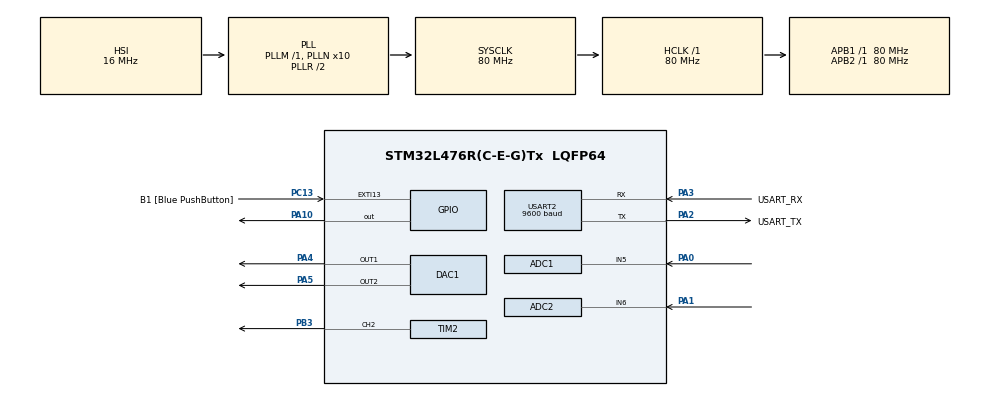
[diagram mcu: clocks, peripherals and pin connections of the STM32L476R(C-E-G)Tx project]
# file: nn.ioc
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ADC1.Channel-0\#ChannelRegularConversion=ADC_CHANNEL_5
ADC1.ContinuousConvMode=ENABLE
ADC1.DMAContinuousRequests=ENABLE
ADC1.NbrOfConversionFlag=1
ADC1.OffsetNumber-0\#ChannelRegularConversion=ADC_OFFSET_NONE
ADC1.Rank-0\#ChannelRegularConversion=1
ADC1.SamplingTime-0\#ChannelRegularConversion=ADC_SAMPLETIME_92CYCLES_5
ADC1.master=1
ADC2.Channel-0\#ChannelRegularConversion=ADC_CHANNEL_6
ADC2.ContinuousConvMode=ENABLE
ADC2.DMAContinuousRequests=ENABLE
ADC2.NbrOfConversionFlag=1
ADC2.OffsetNumber-0\#ChannelRegularConversion=ADC_OFFSET_NONE
ADC2.Rank-0\#ChannelRegularConversion=1
ADC2.SamplingTime-0\#ChannelRegularConversion=ADC_SAMPLETIME_92CYCLES_5
DAC1.DAC_Channel-DAC_OUT2=DAC_CHANNEL_2
Dma.ADC1.0.Direction=DMA_PERIPH_TO_MEMORY
Dma.ADC1.0.Instance=DMA1_Channel1
Dma.ADC1.0.MemDataAlignment=DMA_MDATAALIGN_HALFWORD
Dma.ADC1.0.MemInc=DMA_MINC_ENABLE
Dma.ADC1.0.Mode=DMA_CIRCULAR
Dma.ADC1.0.PeriphDataAlignment=DMA_PDATAALIGN_HALFWORD
Dma.ADC1.0.PeriphInc=DMA_PINC_DISABLE
Dma.ADC1.0.Priority=DMA_PRIORITY_LOW
Dma.ADC2.1.Direction=DMA_PERIPH_TO_MEMORY
Dma.ADC2.1.Instance=DMA1_Channel2
Dma.ADC2.1.MemDataAlignment=DMA_MDATAALIGN_HALFWORD
Dma.ADC2.1.MemInc=DMA_MINC_ENABLE
Dma.ADC2.1.Mode=DMA_CIRCULAR
Dma.ADC2.1.PeriphDataAlignment=DMA_PDATAALIGN_HALFWORD
Dma.ADC2.1.PeriphInc=DMA_PINC_DISABLE
Dma.ADC2.1.Priority=DMA_PRIORITY_LOW
Dma.Request0=ADC1
Dma.Request1=ADC2
Mcu.Family=STM32L4
Mcu.Name=STM32L476R(C-E-G)Tx
Mcu.Package=LQFP64
NVIC.DMA1_Channel1_IRQn=true\:0\:0\:false\:false\:true\:false\:true
NVIC.DMA1_Channel2_IRQn=true\:0\:0\:false\:false\:true\:false\:true
NVIC.PriorityGroup=NVIC_PRIORITYGROUP_4
NVIC.TIM3_IRQn=true\:0\:0\:false\:false\:true\:true\:true
PA0.Signal=ADCx_IN5
PA1.Signal=ADCx_IN6
PA10.Signal=GPIO_Output
PA13\ (JTMS-SWDIO).GPIO_Label=TMS
PA13\ (JTMS-SWDIO).Mode=Serial_Wire
PA13\ (JTMS-SWDIO).Signal=SYS_JTMS-SWDIO
PA14\ (JTCK-SWCLK).GPIO_Label=TCK
PA14\ (JTCK-SWCLK).Mode=Serial_Wire
PA14\ (JTCK-SWCLK).Signal=SYS_JTCK-SWCLK
PA2.GPIO_Label=USART_TX
PA2.GPIO_Mode=GPIO_MODE_AF_PP
PA2.GPIO_PuPd=GPIO_NOPULL
PA2.GPIO_Speed=GPIO_SPEED_FREQ_VERY_HIGH
PA2.Mode=Asynchronous
PA2.Signal=USART2_TX
PA3.GPIO_Label=USART_RX
PA3.GPIO_Mode=GPIO_MODE_AF_PP
PA3.GPIO_PuPd=GPIO_NOPULL
PA3.GPIO_Speed=GPIO_SPEED_FREQ_VERY_HIGH
PA3.Mode=Asynchronous
PA3.Signal=USART2_RX
PA4.Signal=COMP_DAC11_group
PA5.Signal=COMP_DAC12_group
PB3\ (JTDO-TRACESWO).Signal=S_TIM2_CH2
PC13.GPIO_Label=B1 [Blue PushButton]
PC13.GPIO_ModeDefaultEXTI=GPIO_MODE_IT_FALLING
PC13.GPIO_PuPd=GPIO_NOPULL
PC13.Signal=GPXTI13
PC14-OSC32_IN\ (PC14).Mode=LSE-External-Oscillator
PC14-OSC32_IN\ (PC14).Signal=RCC_OSC32_IN
PC15-OSC32_OUT\ (PC15).Mode=LSE-External-Oscillator
PC15-OSC32_OUT\ (PC15).Signal=RCC_OSC32_OUT
PH0-OSC_IN\ (PH0).Signal=RCC_OSC_IN
PH1-OSC_OUT\ (PH1).Signal=RCC_OSC_OUT
ProjectManager.HeapSize=0x200
ProjectManager.StackSize=0x400
ProjectManager.TargetToolchain=STM32CubeIDE
RCC.ADCFreq_Value=64000000
RCC.AHBFreq_Value=80000000
RCC.APB1Freq_Value=80000000
RCC.APB1TimFreq_Value=80000000
RCC.APB2Freq_Value=80000000
RCC.APB2TimFreq_Value=80000000
RCC.CortexFreq_Value=80000000
RCC.HCLKFreq_Value=80000000
RCC.HSE_VALUE=8000000
RCC.HSI_VALUE=16000000
RCC.MSI_VALUE=4000000
RCC.PLLN=10
RCC.PLLSourceVirtual=RCC_PLLSOURCE_HSI
RCC.PREFETCH_ENABLE=1
RCC.SYSCLKFreq_VALUE=80000000
RCC.SYSCLKSource=RCC_SYSCLKSOURCE_PLLCLK
RCC.USBFreq_Value=64000000
RCC.VCOOutputFreq_Value=160000000
SH.ADCx_IN5.0=ADC1_IN5,IN5-Single-Ended
SH.ADCx_IN6.0=ADC2_IN6,IN6-Single-Ended
SH.COMP_DAC11_group.0=DAC1_OUT1,DAC_OUT1
SH.COMP_DAC12_group.0=DAC1_OUT2,DAC_OUT2
SH.S_TIM2_CH2.0=TIM2_CH2,PWM Generation2 CH2
TIM2.Channel-PWM\ Generation2\ CH2=TIM_CHANNEL_2
TIM2.Period=4000-1
TIM3.Period=100-1
TIM3.Prescaler=80-1
USART2.BaudRate=9600
USART2.VirtualMode-Asynchronous=VM_ASYNC
VP_TIM3_VS_ClockSourceINT.Mode=Internal
board=NUCLEO-L476RG

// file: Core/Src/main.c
/* USER CODE BEGIN Header */
/**
  ******************************************************************************
  * @file           : main.c
  * @brief          : Main program body
  ******************************************************************************
  * @attention
  *
  * <h2><center>&copy; Copyright (c) 2020 STMicroelectronics.
  * All rights reserved.</center></h2>
  *
  * This software component is licensed by ST under BSD 3-Clause license,
  * the "License"; You may not use this file except in compliance with the
  * License. You may obtain a copy of the License at:
  *                        opensource.org/licenses/BSD-3-Clause
  *
  ******************************************************************************
  */
/* USER CODE END Header */

#include "main.h"

/* USER CODE BEGIN Includes */
#include <string.h>
#include <stdio.h>
#include <stdbool.h>
/* USER CODE END Includes */

/* USER CODE BEGIN PD */
#define SIZE         7        // ADC buffer size
#define DELTA_X0     200      // Current range * 1000
#define DELTA_X1     7000     // Voltage range * 1000
#define X0_MIN       -50      // Minimum current * 1000
#define X1_MIN       -5000    // Minimum voltage * 1000
#define U_MIN        -337900  // Minimum duty cycle * 1000000
#define COUNTER_PERIOD 3999   // PWM signal counter period
/* USER CODE END PD */

ADC_HandleTypeDef hadc1;
ADC_HandleTypeDef hadc2;
DMA_HandleTypeDef hdma_adc1;
DMA_HandleTypeDef hdma_adc2;

DAC_HandleTypeDef hdac1;

TIM_HandleTypeDef htim2;
TIM_HandleTypeDef htim3;

UART_HandleTypeDef huart2;

/* USER CODE BEGIN PV */
int u = 0;              // Input*1000
const int xs0 = 50;     // Steady state current * 1000
const int xs1 = 5000;   // Steady state voltage * 1000
const int us = 337900;  // Steady state input * 1000000
uint16_t iter = 0;  // Sampling step counter for an intial startup delay of 1ms
int x[2] = {0,0};   // State vector
int y[2] = {0,0};   // Sensor measurements vector
int x_est[2] = {0,0};   // State estimate using the model
int64_t integral = 0;   // Integral buffer
bool settled = false;   // Indicates whether the system is settled
uint8_t settling_iter = 0;  //  Number of iterations in a row where |x[k+1]-x[k]|<epsilon

uint16_t adc_buf0[SIZE];   // ADC buffer for the current
uint16_t adc_buf1[SIZE];   // ADC buffer for the voltage
/* USER CODE END PV */

void SystemClock_Config(void);
static void MX_GPIO_Init(void);
static void MX_DMA_Init(void);
static void MX_USART2_UART_Init(void);
static void MX_ADC1_Init(void);
static void MX_ADC2_Init(void);
static void MX_DAC1_Init(void);
static void MX_TIM2_Init(void);
static void MX_TIM3_Init(void);

/* USER CODE BEGIN 0 */

//  Begin code from https://www.geeksforgeeks.org/quick-sort/
/* Functions of the quick sort algorithm.
 * Once the values have been sorted the median value is returned */
void swap(int* a, int* b)
{
	int t = *a;
    *a = *b;
    *b = t;
}

int partition (int arr[], int low, int high)
{
	int pivot = arr[high];    // pivot
	int i = (low - 1);  // Index of smaller element

    for (int j = low; j <= high- 1; j++)
    {
        // If current element is smaller than the pivot
        if (arr[j] < pivot)
        {
            i++;    // increment index of smaller element
            swap(&arr[i], &arr[j]);
        }
    }
    swap(&arr[i + 1], &arr[high]);
    return (i + 1);
}

void quickSort(int arr[], int low, int high)
{
    if (low < high)
    {
        /* pi is partitioning index, arr[p] is now
           at right place */
    	int pi = partition(arr, low, high);

        // Separately sort elements before
        // partition and after partition
        quickSort(arr, low, pi - 1);
        quickSort(arr, pi + 1, high);
    }
}

int get_median(int *values){
	int n = sizeof(values)/sizeof(values[0]);
    quickSort(values, 0, n-1);
    return values[SIZE/2];
}
// End code from https://www.geeksforgeeks.org/quick-sort/

// Inetrruption routine 10kHz
void HAL_TIM_PeriodElapsedCallback(TIM_HandleTypeDef *htim)
{
	// Delay before the controller starts operating
	if (htim->Instance == htim3.Instance)
    {
		if(iter < 10000){
			iter++;
		}
		else{
			// Timing
			//HAL_GPIO_WritePin(GPIOA,GPIO_PIN_10,GPIO_PIN_SET);

			// Copy the values of the ADC buffers in arrays
			int value0[SIZE];
			int value1[SIZE];
			for(uint8_t i = 0; i<SIZE; i++){
				value0[i] = (int)adc_buf0[i];
				value1[i] = (int)adc_buf1[i];
			}

			// Inductor current sampling
			y[0] = get_median(value0); y[0] *= 1075; y[0] /= 10000;

			// Output voltage sampling
			y[1] = get_median(value1);   y[1] *= 28900; y[1] /= 10000;

			// State estimate using the model
			int x0_prev = x[0];
			int x1_prev = x[1];
			x_est[0] = 97136*x0_prev - 978*x1_prev + 14878*u;    x_est[0] /= 100000;
			x_est[1] = 173187*x0_prev + 97046*x1_prev + 18083*u; x_est[1] /= 100000;

			// Combination measurement+model
			int alpha = 250;              // Measurement contibution = 25 %, Model contribution = 75 %
			int alpha_bar = 1000-alpha;
			x[0] = alpha*y[0] + alpha_bar*x_est[0]; x[0] /= 1000;
			x[1] = alpha*y[1] + alpha_bar*x_est[1]; x[1] /= 1000;

			//  Shift the state to the new origin (steady state values)
			int dx0 = x[0] - xs0;
			int dx1 = x[1] - xs1;

			// Scale the input so that 0 <= x <= 1
			dx0 -= X0_MIN;  dx0 *= 1000; dx0 /= DELTA_X0;
			dx1 -= X1_MIN;  dx1 *= 1000; dx1 /= DELTA_X1;

			// Third layer input of the NN
			int n1,n2,n3;

			// Test Region 1
			int H11 = -84*dx0+996*dx1-357663;       H11 = H11<=0;
			int H12 = 1000*dx0-1000000;             H12 = H12<=0;
			int H13 = -1000*dx1;                    H13 = H13<=0;
			int H14 = -1000*dx0;                    H14 = H14<=0;
			int H15 = 948*dx0-317*dx1-939649;       H15 = H15<=0;

			if(H11 && H12 && H13 && H14 && H15){
				// Layer 2 pQP explicit soltion
				n1 = -1*dx0-276*dx1+1048587;
				n2 = -1238*dx0+414*dx1+1226741;

				// Layer 3 mapping
				int u_temp = -0.0959*n1+1.0614*n2+141619;

				// Rescale the input
				u = u_temp+U_MIN;

				// Region ID DAC output 0.5V
				//HAL_DAC_SetValue(&hdac1, DAC_CHANNEL_1, DAC_ALIGN_12B_R, 0.5/3.3*4095);
			}
			else{
				// Test Region 2 : TERMINAL SET
				int H21 = 1000*dx0-1000000;          H21 = H21<=0;
				int H22 = -1000*dx0;                 H22 = H22<=0;
				int H23 = -73*dx0+997*dx1-784222;    H23 = H23<=0;
				int H24 = 674*dx0+738*dx1-1106412;   H24 = H24<=0;
				int H25 = 84*dx0-996*dx1+357663;     H25 = H25<=0;

				if(H21 && H22 && H23 && H24 && H25){
					n1 = 163*dx0-2222*dx1+1747205;
					n2 = -1102*dx0-1207*dx1+1808427;
					n3 = -220*dx0+2620*dx1-940435;
					int u_temp = -0.0959*n1+1.0614*n2-0.5676*n3+141619;
					u = u_temp+U_MIN;

					// If not settled : Integrator disabled
					if(!settled){
						int diff = x[1]-x1_prev;        // difference between 2 consecutive samples
						if(diff > -100 && diff < 100){  // If |diff| < 100 mV increment counter
							settling_iter++;
							if(settling_iter == 100){   // If counter = 100 system settled
								settled = true;
							}
						}
						else{
							settling_iter = 0;          // If |diff| > 100 mV reset counter
						}
				    }
					else{                           // Increment the integral and modify the input
						int error = 5000-y[1];
						integral += error;
						u += 40*integral;
					}
					//HAL_DAC_SetValue(&hdac1, DAC_CHANNEL_1, DAC_ALIGN_12B_R, 1/3.3*4095);
				}
				else{
					// Test Region 3
					int H31 = -948*dx0+317*dx1+939649;    H31 = H31<=0;
					int H32 = 1000*dx0-1000000;           H32 = H32<=0;
					int H33 = -1000*dx1;                  H33 = H33<=0;

					if(H31 && H32 && H33){
						n1 = 614*dx0-481*dx1+439588;
						int u_temp = -0.0959*n1+141619;
						u = u_temp+U_MIN;
						//HAL_DAC_SetValue(&hdac1, DAC_CHANNEL_1, DAC_ALIGN_12B_R, 1.5/3.3*4095);
					}
					else{
						// Test Region 4
						int H41 = 73*dx0-997*dx1+784222;       H41 = H41<=0;
						int H42 = 1000*dx1-1000000;            H42 = H42<=0;
						int H43 = -1000*dx0;                   H43 = H43<=0;
						int H44 = 907*dx0-422*dx1-300125;      H44 = H44<=0;

						if(H41 && H42 && H43 && H44){
							n2 = -1233*dx0+574*dx1+408098;
							n3 = -124*dx0+1305*dx1+93435;
							int u_temp = 1.0614*n2-0.5676*n3+141619;
							u = u_temp+U_MIN;
							//HAL_DAC_SetValue(&hdac1, DAC_CHANNEL_1, DAC_ALIGN_12B_R, 2/3.3*4095);
						}
						else{
							// Test Region 5
							int H51 = -674*dx0-738*dx1+1106412;     H51 = H51<=0;
							int H52 = 1000*dx0-1000000;             H52 = H52<=0;
							int H53 = 1000*dx1-1000000;             H53 = H53<=0;
							int H54 = -544*dx0+839*dx1-311384;      H54 = H54<=0;

							if(H51 && H52 && H53 && H54){
								n1 = 910*dx0-1404*dx1+520906;
								n3 = -679*dx0+2117*dx1-186592;
								int u_temp = -0.0959*n1-0.5676*n3+141619;
								u = u_temp+U_MIN;
								//HAL_DAC_SetValue(&hdac1, DAC_CHANNEL_1, DAC_ALIGN_12B_R, 2.5/3.3*4095);
							}
							else{
								// Test Region 6
								int H61 = 544*dx0-839*dx1+311384;     H61 = H61<=0;
								int H62 = -907*dx0+422*dx1+300125;    H62 = H62<=0;
								int H63 = 1000*dx1-1000000;           H63 = H63<=0;

								if(H61 && H62 && H63){
									n3 = -166*dx0+1325*dx1+107379;
									int u_temp = -0.5676*n3+141619;
									u = u_temp+U_MIN;
									//HAL_DAC_SetValue(&hdac1, DAC_CHANNEL_1, DAC_ALIGN_12B_R, 3/3.3*4095);
								}
								else{
									// No region found => slow LQR
									dx0 = x[0] - xs0;
									dx1 = x[1] - xs1;
									u = -4854*dx0; u += 53*dx1;
									//HAL_DAC_SetValue(&hdac1, DAC_CHANNEL_1, DAC_ALIGN_12B_R, 0);
								}
							}
						}
					}
				}
			}

			// Add the steady state input
			u += us;  u /= 1000;

			// Update PWM timer counter
			int input = u*COUNTER_PERIOD/1000;

			// Saturation
			if(input < 0) input = 0;
			if(input > COUNTER_PERIOD) input = COUNTER_PERIOD;

			// Duty cycle command
			htim2.Instance->CCR2 = input;

			// Duty cycle DAC output
			//HAL_DAC_SetValue(&hdac1, DAC_CHANNEL_1, DAC_ALIGN_12B_R, input*4095/13197);
		}
	}
	// End Timing
	//HAL_GPIO_WritePin(GPIOA,GPIO_PIN_10,GPIO_PIN_RESET);
}
/* USER CODE END 0 */

int main(void)
{

  /* MCU Configuration--------------------------------------------------------*/

  /* Reset of all peripherals, Initializes the Flash interface and the Systick. */
  HAL_Init();

  /* Configure the system clock */
  SystemClock_Config();

  /* Initialize all configured peripherals */
  MX_GPIO_Init();
  MX_DMA_Init();
  MX_USART2_UART_Init();
  MX_ADC1_Init();
  MX_ADC2_Init();
  MX_DAC1_Init();
  MX_TIM2_Init();
  MX_TIM3_Init();
  /* USER CODE BEGIN 2 */
  // Peripherals initialization
  HAL_DAC_Start(&hdac1, DAC_CHANNEL_1);
  HAL_DAC_Start(&hdac1, DAC_CHANNEL_2);
  HAL_ADC_Start_DMA(&hadc2, (uint32_t*)adc_buf0, SIZE);
  HAL_ADC_Start_DMA(&hadc1, (uint32_t*)adc_buf1, SIZE);
  HAL_TIM_Base_Start_IT(&htim3);
  HAL_TIM_PWM_Start(&htim2, TIM_CHANNEL_2);
  htim2.Instance->CCR2 = 0;  // Intial input = 0
  /* USER CODE END 2 */

  /* Infinite loop */
  while (1)
  {

  }
}

void SystemClock_Config(void)
{
  RCC_OscInitTypeDef RCC_OscInitStruct = {0};
  RCC_ClkInitTypeDef RCC_ClkInitStruct = {0};
  RCC_PeriphCLKInitTypeDef PeriphClkInit = {0};

  /** Initializes the CPU, AHB and APB busses clocks
  */
  RCC_OscInitStruct.OscillatorType = RCC_OSCILLATORTYPE_HSI;
  RCC_OscInitStruct.HSIState = RCC_HSI_ON;
  RCC_OscInitStruct.HSICalibrationValue = RCC_HSICALIBRATION_DEFAULT;
  RCC_OscInitStruct.PLL.PLLState = RCC_PLL_ON;
  RCC_OscInitStruct.PLL.PLLSource = RCC_PLLSOURCE_HSI;
  RCC_OscInitStruct.PLL.PLLM = 1;
  RCC_OscInitStruct.PLL.PLLN = 10;
  RCC_OscInitStruct.PLL.PLLP = RCC_PLLP_DIV7;
  RCC_OscInitStruct.PLL.PLLQ = RCC_PLLQ_DIV2;
  RCC_OscInitStruct.PLL.PLLR = RCC_PLLR_DIV2;
  if (HAL_RCC_OscConfig(&RCC_OscInitStruct) != HAL_OK)
  {
    Error_Handler();
  }
  /** Initializes the CPU, AHB and APB busses clocks
  */
  RCC_ClkInitStruct.ClockType = RCC_CLOCKTYPE_HCLK|RCC_CLOCKTYPE_SYSCLK
                              |RCC_CLOCKTYPE_PCLK1|RCC_CLOCKTYPE_PCLK2;
  RCC_ClkInitStruct.SYSCLKSource = RCC_SYSCLKSOURCE_PLLCLK;
  RCC_ClkInitStruct.AHBCLKDivider = RCC_SYSCLK_DIV1;
  RCC_ClkInitStruct.APB1CLKDivider = RCC_HCLK_DIV1;
  RCC_ClkInitStruct.APB2CLKDivider = RCC_HCLK_DIV1;

  if (HAL_RCC_ClockConfig(&RCC_ClkInitStruct, FLASH_LATENCY_4) != HAL_OK)
  {
    Error_Handler();
  }
  PeriphClkInit.PeriphClockSelection = RCC_PERIPHCLK_USART2|RCC_PERIPHCLK_ADC;
  PeriphClkInit.Usart2ClockSelection = RCC_USART2CLKSOURCE_PCLK1;
  PeriphClkInit.AdcClockSelection = RCC_ADCCLKSOURCE_PLLSAI1;
  PeriphClkInit.PLLSAI1.PLLSAI1Source = RCC_PLLSOURCE_HSI;
  PeriphClkInit.PLLSAI1.PLLSAI1M = 1;
  PeriphClkInit.PLLSAI1.PLLSAI1N = 8;
  PeriphClkInit.PLLSAI1.PLLSAI1P = RCC_PLLP_DIV7;
  PeriphClkInit.PLLSAI1.PLLSAI1Q = RCC_PLLQ_DIV2;
  PeriphClkInit.PLLSAI1.PLLSAI1R = RCC_PLLR_DIV2;
  PeriphClkInit.PLLSAI1.PLLSAI1ClockOut = RCC_PLLSAI1_ADC1CLK;
  if (HAL_RCCEx_PeriphCLKConfig(&PeriphClkInit) != HAL_OK)
  {
    Error_Handler();
  }
  /** Configure the main internal regulator output voltage
  */
  if (HAL_PWREx_ControlVoltageScaling(PWR_REGULATOR_VOLTAGE_SCALE1) != HAL_OK)
  {
    Error_Handler();
  }
}

static void MX_ADC1_Init(void)
{

  ADC_MultiModeTypeDef multimode = {0};
  ADC_ChannelConfTypeDef sConfig = {0};

  /** Common config
  */
  hadc1.Instance = ADC1;
  hadc1.Init.ClockPrescaler = ADC_CLOCK_ASYNC_DIV1;
  hadc1.Init.Resolution = ADC_RESOLUTION_12B;
  hadc1.Init.DataAlign = ADC_DATAALIGN_RIGHT;
  hadc1.Init.ScanConvMode = ADC_SCAN_DISABLE;
  hadc1.Init.EOCSelection = ADC_EOC_SINGLE_CONV;
  hadc1.Init.LowPowerAutoWait = DISABLE;
  hadc1.Init.ContinuousConvMode = ENABLE;
  hadc1.Init.NbrOfConversion = 1;
  hadc1.Init.DiscontinuousConvMode = DISABLE;
  hadc1.Init.NbrOfDiscConversion = 1;
  hadc1.Init.ExternalTrigConv = ADC_SOFTWARE_START;
  hadc1.Init.ExternalTrigConvEdge = ADC_EXTERNALTRIGCONVEDGE_NONE;
  hadc1.Init.DMAContinuousRequests = ENABLE;
  hadc1.Init.Overrun = ADC_OVR_DATA_PRESERVED;
  hadc1.Init.OversamplingMode = DISABLE;
  if (HAL_ADC_Init(&hadc1) != HAL_OK)
  {
    Error_Handler();
  }
  /** Configure the ADC multi-mode
  */
  multimode.Mode = ADC_MODE_INDEPENDENT;
  if (HAL_ADCEx_MultiModeConfigChannel(&hadc1, &multimode) != HAL_OK)
  {
    Error_Handler();
  }
  /** Configure Regular Channel
  */
  sConfig.Channel = ADC_CHANNEL_5;
  sConfig.Rank = ADC_REGULAR_RANK_1;
  sConfig.SamplingTime = ADC_SAMPLETIME_92CYCLES_5;
  sConfig.SingleDiff = ADC_SINGLE_ENDED;
  sConfig.OffsetNumber = ADC_OFFSET_NONE;
  sConfig.Offset = 0;
  if (HAL_ADC_ConfigChannel(&hadc1, &sConfig) != HAL_OK)
  {
    Error_Handler();
  }

}

static void MX_ADC2_Init(void)
{

  ADC_ChannelConfTypeDef sConfig = {0};

  /** Common config
  */
  hadc2.Instance = ADC2;
  hadc2.Init.ClockPrescaler = ADC_CLOCK_ASYNC_DIV1;
  hadc2.Init.Resolution = ADC_RESOLUTION_12B;
  hadc2.Init.DataAlign = ADC_DATAALIGN_RIGHT;
  hadc2.Init.ScanConvMode = ADC_SCAN_DISABLE;
  hadc2.Init.EOCSelection = ADC_EOC_SINGLE_CONV;
  hadc2.Init.LowPowerAutoWait = DISABLE;
  hadc2.Init.ContinuousConvMode = ENABLE;
  hadc2.Init.NbrOfConversion = 1;
  hadc2.Init.DiscontinuousConvMode = DISABLE;
  hadc2.Init.NbrOfDiscConversion = 1;
  hadc2.Init.ExternalTrigConv = ADC_SOFTWARE_START;
  hadc2.Init.ExternalTrigConvEdge = ADC_EXTERNALTRIGCONVEDGE_NONE;
  hadc2.Init.DMAContinuousRequests = ENABLE;
  hadc2.Init.Overrun = ADC_OVR_DATA_PRESERVED;
  hadc2.Init.OversamplingMode = DISABLE;
  if (HAL_ADC_Init(&hadc2) != HAL_OK)
  {
    Error_Handler();
  }
  /** Configure Regular Channel
  */
  sConfig.Channel = ADC_CHANNEL_6;
  sConfig.Rank = ADC_REGULAR_RANK_1;
  sConfig.SamplingTime = ADC_SAMPLETIME_92CYCLES_5;
  sConfig.SingleDiff = ADC_SINGLE_ENDED;
  sConfig.OffsetNumber = ADC_OFFSET_NONE;
  sConfig.Offset = 0;
  if (HAL_ADC_ConfigChannel(&hadc2, &sConfig) != HAL_OK)
  {
    Error_Handler();
  }

}

static void MX_DAC1_Init(void)
{

  DAC_ChannelConfTypeDef sConfig = {0};

  /** DAC Initialization
  */
  hdac1.Instance = DAC1;
  if (HAL_DAC_Init(&hdac1) != HAL_OK)
  {
    Error_Handler();
  }
  /** DAC channel OUT1 config
  */
  sConfig.DAC_SampleAndHold = DAC_SAMPLEANDHOLD_DISABLE;
  sConfig.DAC_Trigger = DAC_TRIGGER_NONE;
  sConfig.DAC_OutputBuffer = DAC_OUTPUTBUFFER_ENABLE;
  sConfig.DAC_ConnectOnChipPeripheral = DAC_CHIPCONNECT_DISABLE;
  sConfig.DAC_UserTrimming = DAC_TRIMMING_FACTORY;
  if (HAL_DAC_ConfigChannel(&hdac1, &sConfig, DAC_CHANNEL_1) != HAL_OK)
  {
    Error_Handler();
  }
  /** DAC channel OUT2 config
  */
  sConfig.DAC_ConnectOnChipPeripheral = DAC_CHIPCONNECT_DISABLE;
  if (HAL_DAC_ConfigChannel(&hdac1, &sConfig, DAC_CHANNEL_2) != HAL_OK)
  {
    Error_Handler();
  }

}

static void MX_TIM2_Init(void)
{

  TIM_MasterConfigTypeDef sMasterConfig = {0};
  TIM_OC_InitTypeDef sConfigOC = {0};

  htim2.Instance = TIM2;
  htim2.Init.Prescaler = 0;
  htim2.Init.CounterMode = TIM_COUNTERMODE_UP;
  htim2.Init.Period = 4000-1;
  htim2.Init.ClockDivision = TIM_CLOCKDIVISION_DIV1;
  htim2.Init.AutoReloadPreload = TIM_AUTORELOAD_PRELOAD_DISABLE;
  if (HAL_TIM_PWM_Init(&htim2) != HAL_OK)
  {
    Error_Handler();
  }
  sMasterConfig.MasterOutputTrigger = TIM_TRGO_RESET;
  sMasterConfig.MasterSlaveMode = TIM_MASTERSLAVEMODE_DISABLE;
  if (HAL_TIMEx_MasterConfigSynchronization(&htim2, &sMasterConfig) != HAL_OK)
  {
    Error_Handler();
  }
  sConfigOC.OCMode = TIM_OCMODE_PWM1;
  sConfigOC.Pulse = 0;
  sConfigOC.OCPolarity = TIM_OCPOLARITY_HIGH;
  sConfigOC.OCFastMode = TIM_OCFAST_DISABLE;
  if (HAL_TIM_PWM_ConfigChannel(&htim2, &sConfigOC, TIM_CHANNEL_2) != HAL_OK)
  {
    Error_Handler();
  }
  HAL_TIM_MspPostInit(&htim2);

}

static void MX_TIM3_Init(void)
{

  TIM_ClockConfigTypeDef sClockSourceConfig = {0};
  TIM_MasterConfigTypeDef sMasterConfig = {0};

  htim3.Instance = TIM3;
  htim3.Init.Prescaler = 80-1;
  htim3.Init.CounterMode = TIM_COUNTERMODE_UP;
  htim3.Init.Period = 100-1;
  htim3.Init.ClockDivision = TIM_CLOCKDIVISION_DIV1;
  htim3.Init.AutoReloadPreload = TIM_AUTORELOAD_PRELOAD_DISABLE;
  if (HAL_TIM_Base_Init(&htim3) != HAL_OK)
  {
    Error_Handler();
  }
  sClockSourceConfig.ClockSource = TIM_CLOCKSOURCE_INTERNAL;
  if (HAL_TIM_ConfigClockSource(&htim3, &sClockSourceConfig) != HAL_OK)
  {
    Error_Handler();
  }
  sMasterConfig.MasterOutputTrigger = TIM_TRGO_RESET;
  sMasterConfig.MasterSlaveMode = TIM_MASTERSLAVEMODE_DISABLE;
  if (HAL_TIMEx_MasterConfigSynchronization(&htim3, &sMasterConfig) != HAL_OK)
  {
    Error_Handler();
  }

}

static void MX_USART2_UART_Init(void)
{

  huart2.Instance = USART2;
  huart2.Init.BaudRate = 9600;
  huart2.Init.WordLength = UART_WORDLENGTH_8B;
  huart2.Init.StopBits = UART_STOPBITS_1;
  huart2.Init.Parity = UART_PARITY_NONE;
  huart2.Init.Mode = UART_MODE_TX_RX;
  huart2.Init.HwFlowCtl = UART_HWCONTROL_NONE;
  huart2.Init.OverSampling = UART_OVERSAMPLING_16;
  huart2.Init.OneBitSampling = UART_ONE_BIT_SAMPLE_DISABLE;
  huart2.AdvancedInit.AdvFeatureInit = UART_ADVFEATURE_NO_INIT;
  if (HAL_UART_Init(&huart2) != HAL_OK)
  {
    Error_Handler();
  }

}

static void MX_DMA_Init(void)
{

  /* DMA controller clock enable */
  __HAL_RCC_DMA1_CLK_ENABLE();

  /* DMA interrupt init */
  /* DMA1_Channel1_IRQn interrupt configuration */
  HAL_NVIC_SetPriority(DMA1_Channel1_IRQn, 0, 0);
  HAL_NVIC_EnableIRQ(DMA1_Channel1_IRQn);
  /* DMA1_Channel2_IRQn interrupt configuration */
  HAL_NVIC_SetPriority(DMA1_Channel2_IRQn, 0, 0);
  HAL_NVIC_EnableIRQ(DMA1_Channel2_IRQn);

}

static void MX_GPIO_Init(void)
{
  GPIO_InitTypeDef GPIO_InitStruct = {0};

  /* GPIO Ports Clock Enable */
  __HAL_RCC_GPIOC_CLK_ENABLE();
  __HAL_RCC_GPIOH_CLK_ENABLE();
  __HAL_RCC_GPIOA_CLK_ENABLE();
  __HAL_RCC_GPIOB_CLK_ENABLE();

  /*Configure GPIO pin Output Level */
  HAL_GPIO_WritePin(GPIOA, GPIO_PIN_10, GPIO_PIN_RESET);

  /*Configure GPIO pin : B1_Pin */
  GPIO_InitStruct.Pin = B1_Pin;
  GPIO_InitStruct.Mode = GPIO_MODE_IT_FALLING;
  GPIO_InitStruct.Pull = GPIO_NOPULL;
  HAL_GPIO_Init(B1_GPIO_Port, &GPIO_InitStruct);

  /*Configure GPIO pin : PA10 */
  GPIO_InitStruct.Pin = GPIO_PIN_10;
  GPIO_InitStruct.Mode = GPIO_MODE_OUTPUT_PP;
  GPIO_InitStruct.Pull = GPIO_NOPULL;
  GPIO_InitStruct.Speed = GPIO_SPEED_FREQ_LOW;
  HAL_GPIO_Init(GPIOA, &GPIO_InitStruct);

}

void Error_Handler(void)
{
}

/************************ (C) COPYRIGHT STMicroelectronics *****END OF FILE****/
